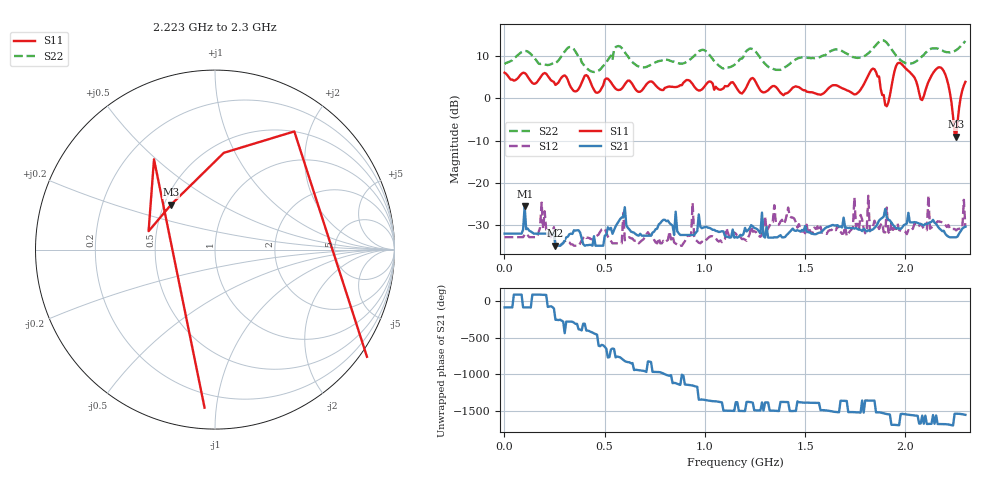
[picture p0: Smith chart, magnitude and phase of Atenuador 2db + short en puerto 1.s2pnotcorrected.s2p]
# Hz S DB R 50.000000
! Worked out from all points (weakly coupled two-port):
!   300 points, 1 MHz to 2.3 GHz, reference 50 ohm
!   highest |S21| = -25.50 dB at 101 MHz (marker M1); lowest = -34.9 dB at 254.7 MHz (marker M2)
!   lowest |S11| = -9.1 dB at 2.254 GHz (marker M3), VSWR 2.08, Z = 27.2 + j15.6 ohm
!   |S11| at or under -10 dB: nowhere
!   |S22| runs from 6.2 to 13.7 dB; largest |S21 - S12| = 0.093
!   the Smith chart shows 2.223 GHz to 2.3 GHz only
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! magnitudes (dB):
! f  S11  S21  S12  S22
! 1 MHz  6.0  -32.0  -32.8  8.1
! 101 MHz  6.0  -25.5  -32.2  11.2
! 185.5 MHz  5.4  -32.0  -24.7  8.2
! 254.7 MHz  3.1  -34.9  -34.9  8.3
! 385.4 MHz  3.7  -33.1  -33.7  8.5
! 769.9 MHz  2.3  -29.8  -33.0  8.8
! 885.2 MHz  3.1  -32.3  -34.9  8.2
! 939.1 MHz  3.4  -32.3  -24.7  9.7
! 969.8 MHz  1.8  -27.5  -34.2  11.1
! 1.154 GHz  2.8  -32.8  -32.0  8.1
! 1.539 GHz  1.4  -32.1  -31.7  9.5
! 1.708 GHz  1.9  -30.6  -32.5  10.6
! 1.746 GHz  0.9  -30.8  -23.5  9.7
! 1.8 GHz  4.0  -31.2  -31.9  10.1
! 1.816 GHz  5.4  -31.2  -23.0  10.6
! 1.823 GHz  6.1  -31.3  -31.4  11.0
! 1.923 GHz  0.6  -28.9  -32.1  12.2
! 2.108 GHz  2.9  -29.7  -31.2  11.0
! 2.115 GHz  3.9  -29.5  -23.0  11.4
! 2.177 GHz  7.3  -31.1  -29.2  11.4
! 2.254 GHz  -9.1  -32.9  -31.2  11.4
! 2.3 GHz  3.9  -30.3  -30.6  13.5
